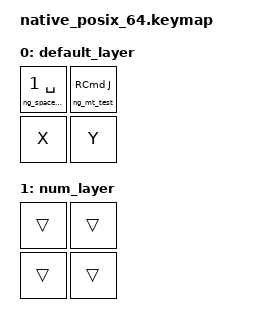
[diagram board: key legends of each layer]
#include <dt-bindings/zmk/keys.h>
#include <dt-bindings/zmk/kscan_mock.h>
#include <behaviors.dtsi>
#include <behaviors/naginata.dtsi>

/ {
    behaviors {
        ng_mt_test: ng_mt_test {
            compatible = "zmk,behavior-naginata-hold-tap";
            #binding-cells = <2>;
            bindings = <&kp>, <&ng>;
            shortcut-binding = <&kp>;
            tapping-term-ms = <100>;
            tap-trigger-key-positions = <0>;
            hold-trigger-key-positions = <0>;
        };

        ng_space_test: ng_space_test {
            compatible = "zmk,behavior-naginata-space";
            #binding-cells = <2>;
            bindings = <&mo>, <&ng>;
            tapping-term-ms = <100>;
            shortcut-binding = <&kp>;
            tap-trigger-key-positions = <1>;
        };
    };

    keymap {
        compatible = "zmk,keymap";

        default_layer {
            bindings = <
                &ng_space_test 1 SPACE  &ng_mt_test RIGHT_COMMAND J
                &kp X                    &kp Y
            >;
        };

        num_layer {
            bindings = <&trans &trans &trans &trans>;
        };
    };
};

&kscan {
    events = <
        ZMK_MOCK_PRESS(0, 1, 10)
        ZMK_MOCK_PRESS(0, 0, 150)
        ZMK_MOCK_RELEASE(0, 0, 10)
        ZMK_MOCK_RELEASE(0, 1, 10)
    >;
};
